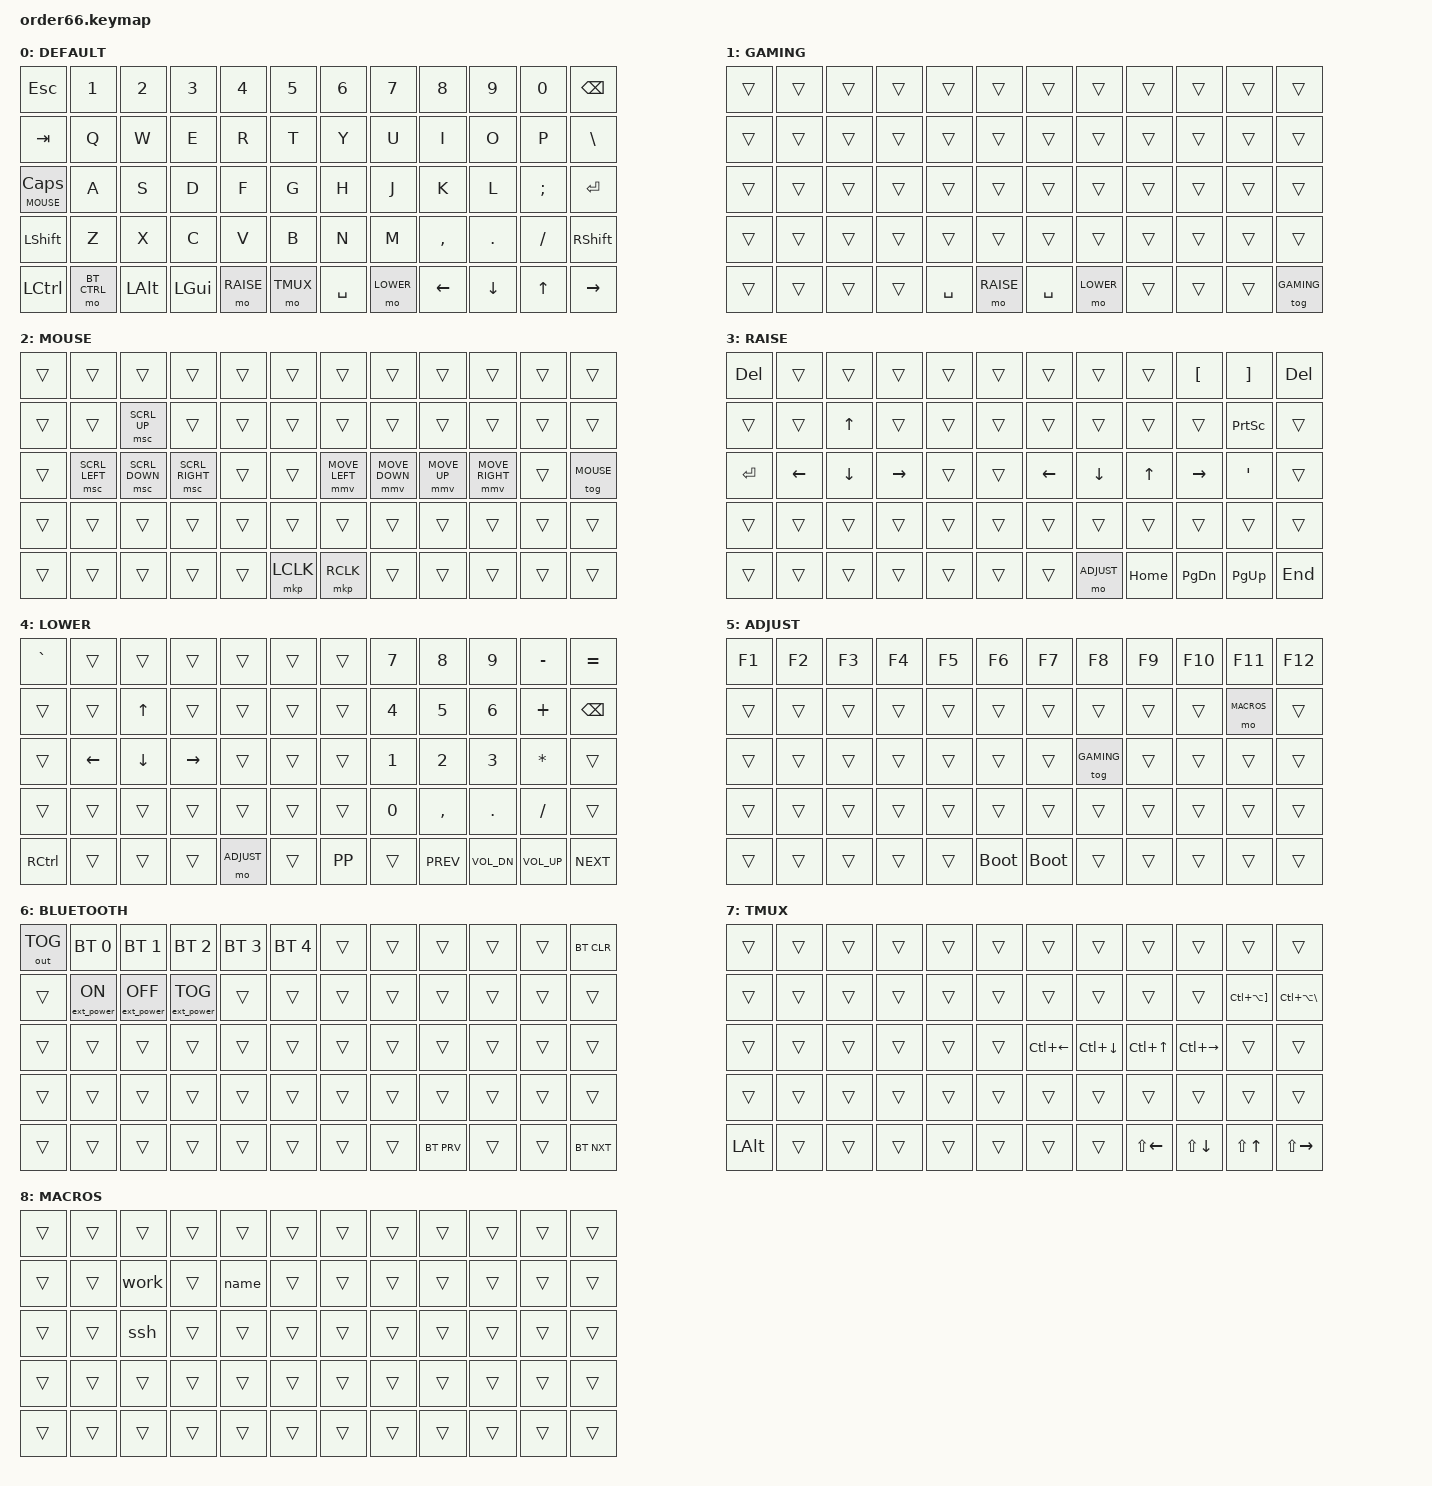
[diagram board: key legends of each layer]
/*
 * Copyright (c) 2021 The ZMK Contributors
 *
 * SPDX-License-Identifier: MIT
 */

#include <behaviors.dtsi>
#include <dt-bindings/zmk/bt.h>
#include <dt-bindings/zmk/ext_power.h>
#include <dt-bindings/zmk/keys.h>
#include <dt-bindings/zmk/outputs.h>
#include <dt-bindings/zmk/pointing.h>
#include "macros.dtsi"

#define DEFAULT 0
#define GAMING 1
#define MOUSE 2
#define RAISE 3
#define LOWER 4
#define ADJUST 5
#define BT_CTRL 6
#define TMUX 7
#define MACROS 8

/ {
    keymap {
        compatible = "zmk,keymap";

        default_layer {
            display-name = "DEFAULT";
            // ------------------------------------------------------------------------------------------
            // |  ESC  |  1   |  2   |  3   |  4   |  5   |   6   |  7    |  8   |  9   |   0   | BSPC  |
            // |  TAB  |  Q   |  W   |  E   |  R   |  T   |   Y   |  U    |  I   |  O   |   P   |  \    |
            // | SHIFT |  A   |  S   |  D   |  F   |  G   |   H   |  J    |  K   |  L   |   ;   |  '    |
            // | CTRL  |  Z   |  X   |  C   |  V   |  B   |   N   |  M    |  ,   |  .   |   /   | ENTER |
            // |ADJUST | LCTL | LALT | LGUI | LOWR | SPACE| SPACE |  RAIS | LEFT | DOWN | UARW  | RARW  |

            bindings = <
                &kp ESC         &kp N1       &kp N2      &kp N3   &kp N4     &kp N5    &kp N6      &kp N7     &kp N8      &kp N9      &kp N0      &kp BSPC
                &kp TAB         &kp Q        &kp W       &kp E    &kp R      &kp T     &kp Y       &kp U      &kp I       &kp O       &kp P       &kp BSLH
                &lt MOUSE CAPS  &kp A        &kp S       &kp D    &kp F      &kp G     &kp H       &kp J      &kp K       &kp L       &kp SEMI    &kp RET
                &kp LSHFT       &kp Z        &kp X       &kp C    &kp V      &kp B     &kp N       &kp M      &kp COMMA   &kp DOT     &kp FSLH    &kp RSHFT
                &kp LCTRL       &mo BT_CTRL  &kp LALT    &kp LGUI &mo RAISE  &mo TMUX  &kp SPACE   &mo LOWER  &kp LEFT    &kp DOWN    &kp UP      &kp RIGHT
            >;
        };

        gaming {
            display-name = "GAMING";
            bindings = <
                &trans       &trans         &trans         &trans          &trans       &trans       &trans         &trans         &trans       &trans          &trans  &trans
                &trans       &trans         &trans         &trans          &trans       &trans       &trans         &trans         &trans       &trans          &trans  &trans
                &trans       &trans         &trans         &trans          &trans       &trans       &trans         &trans         &trans       &trans          &trans  &trans
                &trans       &trans         &trans         &trans          &trans       &trans       &trans         &trans         &trans       &trans          &trans  &trans
                &trans       &trans         &trans         &trans          &kp SPACE    &mo RAISE    &kp SPACE      &mo LOWER      &trans       &trans          &trans
  &tog GAMING>;
        };

        mouse_control {
            display-name = "MOUSE";
            // ----------------------------------------------------------------------------------------------
            // |tog(4) |  F2    |   F3   |   F4   |   F5   |   F6   |  F7  |  F8  |  F9  | F10 | F11 |      |
            // |out tog|BT_SEL 0|BT_SEL 1|BT_SEL 2|BT_SEL 3|BT_SEL 4|BT_PRV|BT_NXT|BT_CLR|     |     |      |
            // |       |        |        |        |        |        |      |      |      |     |     |      |
            // |       |        |        |        |        |        |      |      |      |     |     |      |
            // |       |        |        |        |        |        |      |      |      |     |     |      |
            bindings = <
                &trans       &trans         &trans         &trans          &trans       &trans       &trans         &trans         &trans       &trans          &trans  &trans
                &trans       &trans         &msc SCRL_UP   &trans          &trans       &trans       &trans         &trans         &trans       &trans          &trans  &trans
                &trans       &msc SCRL_LEFT &msc SCRL_DOWN &msc SCRL_RIGHT &trans       &trans       &mmv MOVE_LEFT &mmv MOVE_DOWN &mmv MOVE_UP &mmv MOVE_RIGHT &trans  &tog MOUSE
                &trans       &trans         &trans         &trans          &trans       &trans       &trans         &trans         &trans       &trans          &trans  &trans
                &trans       &trans         &trans         &trans          &trans       &mkp LCLK    &mkp RCLK      &trans         &trans       &trans          &trans  &trans
            >;
        };

        raise_layer {
            display-name = "RAISE";
            // ------------------------------------------------------------------------------------------
            // |  ESC  |  F2  |  F3  |  F4  |  F5  |  F6  |  F7   |  F8   |  F9  | F10  |  F11  |  F12  |
            // |   ~   |  1   |  2   |  3   |  4   |  5   |  6    |   7   |  8   |  9   |   0   |  DEL  |
            // |  DEL  |  F1  |  F2  |  F3  |  F4  |  F5  |  F6   |   -   |  =   |  [   |   ]   |   \   |
            // |       |  F7  |  F8  |  F9  |  F10 |  F11 |  F12  |   #   |  |   |      |       |       |
            // |       |      |      |      |      |      |       |       |       |      |      |       |
            bindings = <
                &kp DEL      &trans       &trans       &trans       &trans       &trans       &trans     &trans     &trans     &kp LBKT  &kp RBKT   &kp DEL
                &trans       &trans       &kp UP       &trans       &trans       &trans       &trans     &trans     &trans     &trans    &kp PSCRN  &trans
                &kp RET      &kp LEFT     &kp DOWN     &kp RIGHT    &trans       &trans       &kp LEFT   &kp DOWN   &kp UP     &kp RIGHT &kp SQT    &trans
                &trans       &trans       &trans       &trans       &trans       &trans       &trans     &trans     &trans     &trans    &trans     &trans
                &trans       &trans       &trans       &trans       &trans       &trans       &trans     &mo ADJUST &kp HOME   &kp PG_DN &kp PG_UP &kp END
            >;
        };
       
        lower_layer {
            display-name = "LOWER";
            // -------------------------------------------------------------------------------------------
            // |  ESC  |  F2  |  F3  |  F4  |  F5  |  F6  |   F7  |  F8   |  F9  | F10  |  F11  |  F12  |
            // |   ~   |  !   |  @   |  #   |  $   |  %   |   ^   |   &   |  *   |  (   |   )   |  DEL  |
            // |       |  F1  |  F2  |  F3  |  F4  |  F5  |   F6  |   _   |  +   |  {   |   }   |   |   |
            // |       |  F7  |  F8  |  F9  |  F10 |  F11 |   F12 | LS(#) |LS(|) |      |       |       |
            // |       |      |      |      |      |      |       |       | NEXT | Vol- | Vol+ | PLAY   |
            bindings = <
                &kp GRAVE    &trans       &trans       &trans       &trans       &trans       &trans     &kp N7     &kp N8     &kp N9       &kp MINUS    &kp EQUAL
                &trans       &trans       &kp UP       &trans       &trans       &trans       &trans     &kp N4     &kp N5     &kp N6       &kp PLUS     &kp BSPC
                &trans       &kp LEFT     &kp DOWN     &kp RIGHT    &trans       &trans       &trans     &kp N1     &kp N2     &kp N3       &kp STAR     &trans
                &trans       &trans       &trans       &trans       &trans       &trans       &trans     &kp N0     &kp COMMA  &kp DOT      &kp FSLH     &trans
                &kp RCTRL    &trans       &trans       &trans       &mo ADJUST   &trans       &kp K_PP   &trans     &kp K_PREV &kp K_VOL_DN &kp K_VOL_UP &kp K_NEXT
            >;
        };

        adjust_layer {
            display-name = "ADJUST";
            // ------------------------------------------------------------------------------------------
            // |tog(4)|  F2  |  F3  |  F4  |  F5  |  F6  |  F7  |  F8  |  F9  |  F10 |  F11 |    F12    |
            // |      |  NA  |  NA  |  NA  |  NA  |  NA  |  NA  |  NA  |  NA  |  NA  |  NA  |LALT(PRTSN)|
            // |      |  NA  |  NA  |  NA  |  NA  |  NA  |  NA  |  NA  |  NA  |  NA  |  NA  |   PRTSN   |
            // |      |  NA  |  NA  |  NA  |  NA  |  NA  |  NA  |  NA  |  NA  |  NA  |  NA  |LCTRL(DEL) |
            // |      |      |      |      |      |BOOTLD|BOOTLD|      |      |      |      |           |
            bindings = <
                &kp F1       &kp F2       &kp F3       &kp F4       &kp F5       &kp F6       &kp F7      &kp F8      &kp F9     &kp F10 &kp F11      &kp F12
                &trans       &trans       &trans       &trans       &trans       &trans       &trans      &trans      &trans     &trans  &mo MACROS &trans
                &trans       &trans       &trans       &trans       &trans       &trans       &trans      &tog GAMING &trans     &trans  &trans       &trans
                &trans       &trans       &trans       &trans       &trans       &trans       &trans      &trans      &trans     &trans  &trans       &trans
                &trans       &trans       &trans       &trans       &trans       &bootloader  &bootloader &trans      &trans     &trans  &trans       &trans
            >;
        };

        bluetooth_control {
            display-name = "BLUETOOTH";
            // ----------------------------------------------------------------------------------------------
            // |tog(4) |  F2    |   F3   |   F4   |   F5   |   F6   |  F7  |  F8  |  F9  | F10 | F11 |      |
            // |out tog|BT_SEL 0|BT_SEL 1|BT_SEL 2|BT_SEL 3|BT_SEL 4|BT_PRV|BT_NXT|BT_CLR|     |     |      |
            // |       |        |        |        |        |        |      |      |      |     |     |      |
            // |       |        |        |        |        |        |      |      |      |     |     |      |
            // |       |        |        |        |        |        |      |      |      |     |     |      |
            bindings = <
                &out OUT_TOG &bt BT_SEL 0     &bt BT_SEL 1      &bt BT_SEL 2      &bt BT_SEL 3 &bt BT_SEL 4 &trans     &trans     &trans     &trans  &trans  &bt BT_CLR
                &trans       &ext_power EP_ON &ext_power EP_OFF &ext_power EP_TOG &trans       &trans       &trans     &trans     &trans     &trans  &trans  &trans
                &trans       &trans           &trans            &trans            &trans       &trans       &trans     &trans     &trans     &trans  &trans  &trans
                &trans       &trans           &trans            &trans            &trans       &trans       &trans     &trans     &trans     &trans  &trans  &trans
                &trans       &trans           &trans            &trans            &trans       &trans       &trans     &trans     &bt BT_PRV &trans  &trans  &bt BT_NXT
            >;
        };

        tmux_control {
            display-name = "TMUX";
            // ----------------------------------------------------------------------------------------------
            // |tog(4) |  F2    |   F3   |   F4   |   F5   |   F6   |  F7  |  F8  |  F9  | F10 | F11 |      |
            // |out tog|BT_SEL 0|BT_SEL 1|BT_SEL 2|BT_SEL 3|BT_SEL 4|BT_PRV|BT_NXT|BT_CLR|     |     |      |
            // |       |        |        |        |        |        |      |      |      |     |     |      |
            // |       |        |        |        |        |        |      |      |      |     |     |      |
            // |       |        |        |        |        |        |      |      |      |     |     |      |
            bindings = <
                &trans       &trans       &trans       &trans       &trans       &trans       &trans       &trans       &trans     &trans        &trans          &trans
                &trans       &trans       &trans       &trans       &trans       &trans       &trans       &trans       &trans     &trans        &kp LC(LA(RBKT)) &kp LC(LA(BSLH))
                &trans       &trans       &trans       &trans       &trans       &trans       &kp LC(LEFT) &kp LC(DOWN) &kp LC(UP) &kp LC(RIGHT) &trans          &trans
                &trans       &trans       &trans       &trans       &trans       &trans       &trans       &trans       &trans     &trans        &trans          &trans
                &kp LALT     &trans       &trans       &trans       &trans       &trans       &trans       &trans       &kp LS(LEFT) &kp LS(DOWN)  &kp LS(UP)      &kp LS(RIGHT)
            >;
        };

        macros {
            display-name = "MACROS";
            bindings = <
                &trans       &trans         &trans         &trans          &trans        &trans       &trans         &trans         &trans       &trans          &trans  &trans
                &trans       &trans         &work          &trans          &name       &trans       &trans         &trans         &trans       &trans          &trans  &trans
                &trans       &trans         &ssh           &trans          &trans       &trans       &trans         &trans         &trans       &trans          &trans  &trans
                &trans       &trans         &trans         &trans          &trans       &trans       &trans         &trans         &trans       &trans          &trans  &trans
                &trans       &trans         &trans         &trans          &trans       &trans       &trans         &trans         &trans       &trans          &trans  &trans
            >;
        };
    };
};
